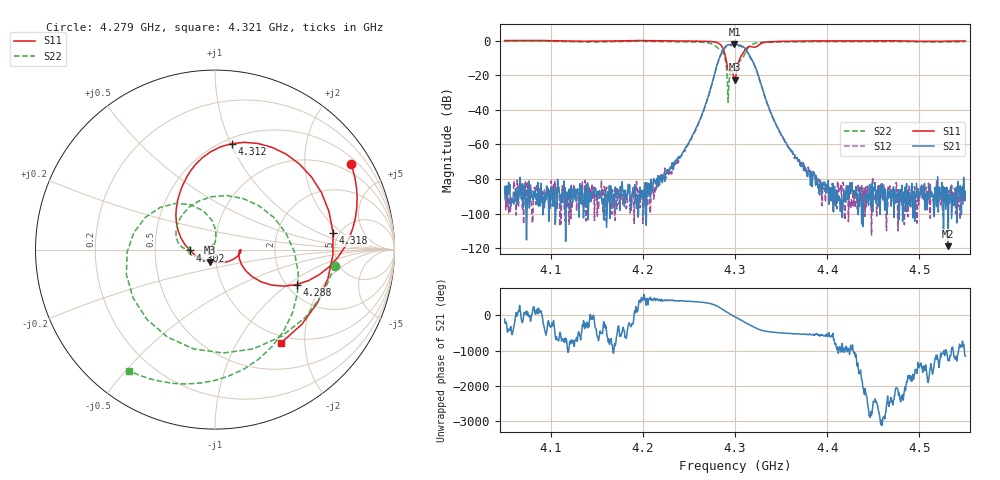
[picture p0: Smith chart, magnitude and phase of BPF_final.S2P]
! C:\Users\Aljaz\Desktop\BPF_final.S2P
! Touchstone 1.1 file saved by VNA.EXE V1.65 (www.ke5fx.com/gpib/readme.htm)
! 1. 07. 2022 15:27:08
!  Source: HP8510C.07.14: Aug 26  1998
!  Min freq: 4.050000E+009 Hz
!  Max freq: 4.550000E+009 Hz
!  Points: 801
!  Params: S11 S21 S12 S22
# GHZ S DB R 50
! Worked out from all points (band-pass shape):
!   801 points, 4.05 GHz to 4.55 GHz, reference 50 ohm
!   highest |S21| = -2.17 dB at 4.299 GHz (marker M1); lowest = -118.7 dB at 4.531 GHz (marker M2)
!   |S21| within 3 dB of the highest: 4.287 GHz to 4.312 GHz (24.68 MHz wide, 0.574 % of centre)
!   lowest |S11| = -22.6 dB at 4.3 GHz (marker M3), VSWR 1.16, Z = 46.9 - j6.49 ohm
!   |S11| at or under -10 dB: 4.289974 GHz to 4.305682 GHz (15.71 MHz wide, 0.365 % of centre)
!   |S22| runs from -35.7 to -0.4 dB; largest |S21 - S12| = 0.33
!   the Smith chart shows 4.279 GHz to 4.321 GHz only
!   S11 on the Smith chart (normalised r, x): 4.279 GHz: 0.69, +3.32; 4.288 GHz: 2.25, -1.16; 4.302 GHz: 0.75, -0.01; 4.312 GHz: 0.55, +1.01; 4.318 GHz: 4.43, +1.49; 4.321 GHz: 0.89, -1.55
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4.05  -0.03 -102.3  -84.36 -100.3  -88.43 -85.0  -0.47 -27.2
4.13375  -0.41 -164.6  -84.93 -89.1  -88.66 -91.1  -0.82 -85.9
4.216875  -0.10 122.2  -84.28 58.3  -82.81 95.2  -0.53 -162.6
4.25375  -0.35 86.4  -54.67 35.1  -55.48 13.0  -0.81 154.7
4.270625  -0.52 59.4  -32.77 -9.3  -33.30 -34.3  -1.39 97.7
4.279375  -0.97 32.3  -16.09 -79.3  -16.52 -104.4  -3.44 -7.7
4.283125  -1.89 13.1  -9.83 -133.4  -10.34 -159.2  -4.94 -102.2
4.288125  -6.12 -23.2  -4.41 144.6  -4.99 119.9  -8.28 142.4
4.293125  -17.40 -10.8  -2.39 60.3  -2.92 35.6  -27.82 -153.2
4.299375  -22.48 -80.8  -2.17 -30.4  -2.69 -55.0  -16.84 175.3
4.3  -22.60 -111.9  -2.17 -39.3  -2.69 -63.9  -16.74 176.7
4.301875  -17.06 -178.0  -2.27 -65.9  -2.78 -90.4  -15.03 177.1
4.306875  -8.82 123.6  -3.00 -137.0  -3.49 -161.8  -10.89 108.2
4.3125  -4.47 81.1  -5.62 137.3  -6.24 112.8  -5.68 -27.9
4.318125  -3.55 8.1  -10.84 61.0  -11.34 37.3  -2.31 -102.2
4.32125  -3.92 -54.6  -14.16 20.2  -14.57 -4.0  -1.64 -125.5
4.329375  -1.49 163.7  -27.20 -66.1  -27.72 -90.8  -1.00 -163.6
4.34375  -0.57 93.0  -47.43 -123.9  -48.02 -147.6  -0.89 161.0
4.38375  -0.23 32.0  -84.36 175.9  -78.25 150.6  -0.63 115.6
4.466875  -0.12 -37.8  -89.77 -66.8  -87.16 -94.0  -0.57 42.8
4.53125  -0.41 -93.8  -118.68 155.6  -102.46 -123.0  -0.82 -4.9
4.55  -0.23 -108.1  -87.07 -80.0  -90.53 -110.5  -0.69 -16.4
